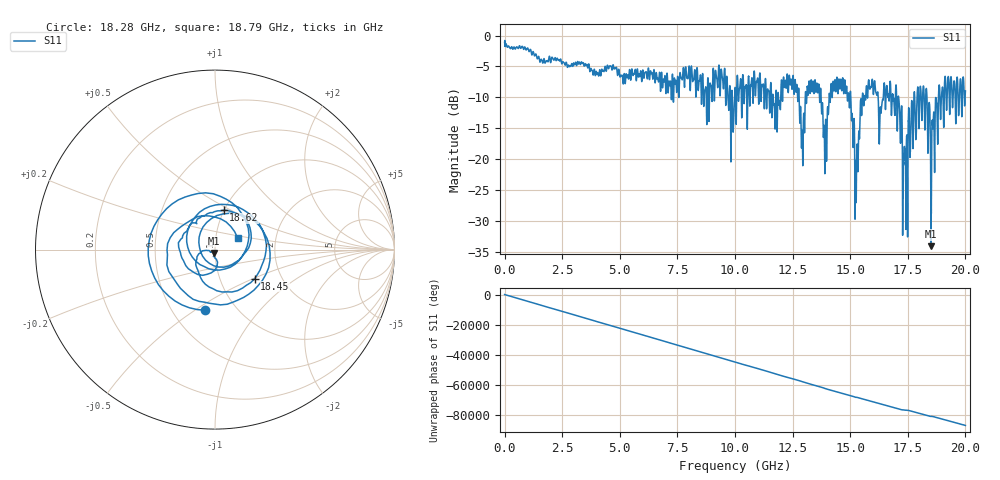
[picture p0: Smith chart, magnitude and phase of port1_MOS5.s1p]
! MS46122B
! 2250307/22442219
! 6/15/2025 8:12:13 AM
! C:\USERS\SPARKY\DOCUMENTS\VNA_DATA\JUNE15_2025\3.2K\PORT1_MOS5.S1P
! CHANNEL.1
! TR.MEASUREMENT
! RAW.DATA
# GHZ S RI R 50.0
! FREQ.GHZ  S11RE  S11IM
!; PortSelection: Port_1
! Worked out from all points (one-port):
!   10001 points, 1 MHz to 20 GHz, reference 50 ohm
!   lowest |S11| = -34.0 dB at 18.51 GHz (marker M1), VSWR 1.04, Z = 49.2 - j1.78 ohm
!   |S11| at or under -10 dB: 15.03 GHz to 15.53 GHz (500.8 MHz wide, 3.28 % of centre); 17.1 GHz to 17.77 GHz (668.6 MHz wide, 3.83 % of centre); 18.33 GHz to 18.83 GHz (498.6 MHz wide, 2.68 % of centre) (the widest 3 of 64)
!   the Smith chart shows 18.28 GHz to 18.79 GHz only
!   S11 on the Smith chart (normalised r, x): 18.28 GHz: 0.72, -0.55; 18.45 GHz: 1.46, -0.51; 18.62 GHz: 1.00, +0.46; 18.79 GHz: 1.27, +0.17
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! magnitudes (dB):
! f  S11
! 1 MHz  -1.1
! 2.501 GHz  -4.5
! 5.001 GHz  -6.6
! 7.501 GHz  -6.8
! 9.477 GHz  -7.5
! 10 GHz  -8.5
! 11.76 GHz  -11.9
! 12.5 GHz  -7.1
! 12.94 GHz  -19.8
! 13.3 GHz  -7.2
! 13.64 GHz  -8.0
! 13.91 GHz  -20.5
! 14.25 GHz  -7.4
! 15 GHz  -9.3
! 15.28 GHz  -18.9
! 15.52 GHz  -10.4
! 15.88 GHz  -8.4
! 16.31 GHz  -11.7
! 17.05 GHz  -14.8
! 17.35 GHz  -18.1
! 17.5 GHz  -23.3
! 17.99 GHz  -14.8
! 18.28 GHz  -9.3
! 18.45 GHz  -11.2
! 18.51 GHz  -34.0
! 18.62 GHz  -13.0
! 18.79 GHz  -16.9
! 20 GHz  -8.9
